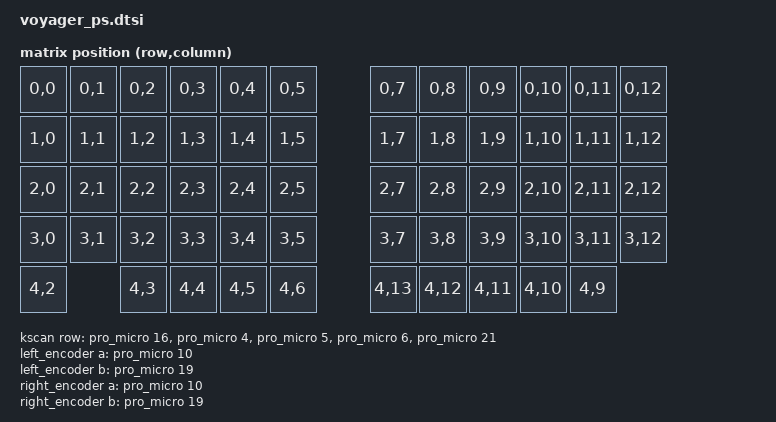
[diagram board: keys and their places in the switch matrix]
#include <dt-bindings/zmk/matrix_transform.h>
#include <dt-bindings/led/led.h>

#include "voyager_ps-layouts.dtsi"

/ {
    chosen {
        zmk,physical-layout = &default_layout;
        zmk,underglow = &led_strip;
    };

    kscan: kscan {
        compatible = "zmk,kscan-gpio-matrix";
        diode-direction = "col2row";
        wakeup-source;

        // Row "num" was originally on &pro_micro 0 (= P0.08). Hardware bodge
        // swaps D0 and D16 so the LED chain can take P0.08 (high-frequency
        // capable). Row "num" moves to &pro_micro 16 (= P0.10).
        row-gpios
            = <&pro_micro 16 (GPIO_ACTIVE_HIGH | GPIO_PULL_DOWN)>
            , <&pro_micro 4 (GPIO_ACTIVE_HIGH | GPIO_PULL_DOWN)>
            , <&pro_micro 5 (GPIO_ACTIVE_HIGH | GPIO_PULL_DOWN)>
            , <&pro_micro 6 (GPIO_ACTIVE_HIGH | GPIO_PULL_DOWN)>
            , <&pro_micro 21 (GPIO_ACTIVE_HIGH | GPIO_PULL_DOWN)>
            ;
    };

    default_transform: default_transform {
        compatible = "zmk,matrix-transform";
        columns = <14>;
        rows = <5>;

        // Row 4 layout: left encoder button (RC(4,2)) | 4 left thumbs | 4 right thumbs | right encoder button (RC(4,9))
        // Encoder buttons share row P21 with the thumb cluster and use the ring column (P9 = col 2 local).
        map = <
            RC(0,0) RC(0,1) RC(0,2) RC(0,3) RC(0,4) RC(0,5)             RC(0,7)  RC(0,8)  RC(0,9)  RC(0,10) RC(0,11) RC(0,12)
            RC(1,0) RC(1,1) RC(1,2) RC(1,3) RC(1,4) RC(1,5)             RC(1,7)  RC(1,8)  RC(1,9)  RC(1,10) RC(1,11) RC(1,12)
            RC(2,0) RC(2,1) RC(2,2) RC(2,3) RC(2,4) RC(2,5)             RC(2,7)  RC(2,8)  RC(2,9)  RC(2,10) RC(2,11) RC(2,12)
            RC(3,0) RC(3,1) RC(3,2) RC(3,3) RC(3,4) RC(3,5)             RC(3,7)  RC(3,8)  RC(3,9)  RC(3,10) RC(3,11) RC(3,12)
            RC(4,2)         RC(4,3) RC(4,4) RC(4,5) RC(4,6)             RC(4,13) RC(4,12) RC(4,11) RC(4,10) RC(4,9)
        >;
    };

    left_encoder: encoder_left {
        compatible = "alps,ec11";
        a-gpios = <&pro_micro 10 (GPIO_ACTIVE_HIGH | GPIO_PULL_UP)>;
        b-gpios = <&pro_micro 19 (GPIO_ACTIVE_HIGH | GPIO_PULL_UP)>;
        steps = <80>;
        status = "disabled";
    };

    right_encoder: encoder_right {
        compatible = "alps,ec11";
        a-gpios = <&pro_micro 10 (GPIO_ACTIVE_HIGH | GPIO_PULL_UP)>;
        b-gpios = <&pro_micro 19 (GPIO_ACTIVE_HIGH | GPIO_PULL_UP)>;
        steps = <80>;
        status = "disabled";
    };

    sensors: sensors {
        compatible = "zmk,keymap-sensors";
        sensors = <&left_encoder &right_encoder>;
        triggers-per-rotation = <20>;
    };
};

/* RGB underglow via SPIM3 MOSI on D0 (P0.08) — bodged. The earlier
 * Zephyr-3.5 GPIO bit-bang variant is gated behind a Kconfig choice
 * block defaulting to WS2812_STRIP_SPI, so explicit GPIO selection
 * gets silently ignored. Use the SPI driver (default for the choice)
 * which works once CONFIG_ZMK_RGB_UNDERGLOW=y is actually merged. */
&pinctrl {
    spi3_default: spi3_default {
        group1 {
            psels = <NRF_PSEL(SPIM_MOSI, 0, 8)>;
        };
    };

    spi3_sleep: spi3_sleep {
        group1 {
            psels = <NRF_PSEL(SPIM_MOSI, 0, 8)>;
            low-power-enable;
        };
    };
};

&spi3 {
    compatible = "nordic,nrf-spim";
    status = "okay";
    pinctrl-0 = <&spi3_default>;
    pinctrl-1 = <&spi3_sleep>;
    pinctrl-names = "default", "sleep";

    led_strip: ws2812@0 {
        compatible = "worldsemi,ws2812-spi";
        reg = <0>;
        spi-max-frequency = <4000000>;
        chain-length = <28>;
        spi-one-frame = <0x70>;
        spi-zero-frame = <0x40>;
        color-mapping = <LED_COLOR_ID_GREEN LED_COLOR_ID_RED LED_COLOR_ID_BLUE>;
    };
};

